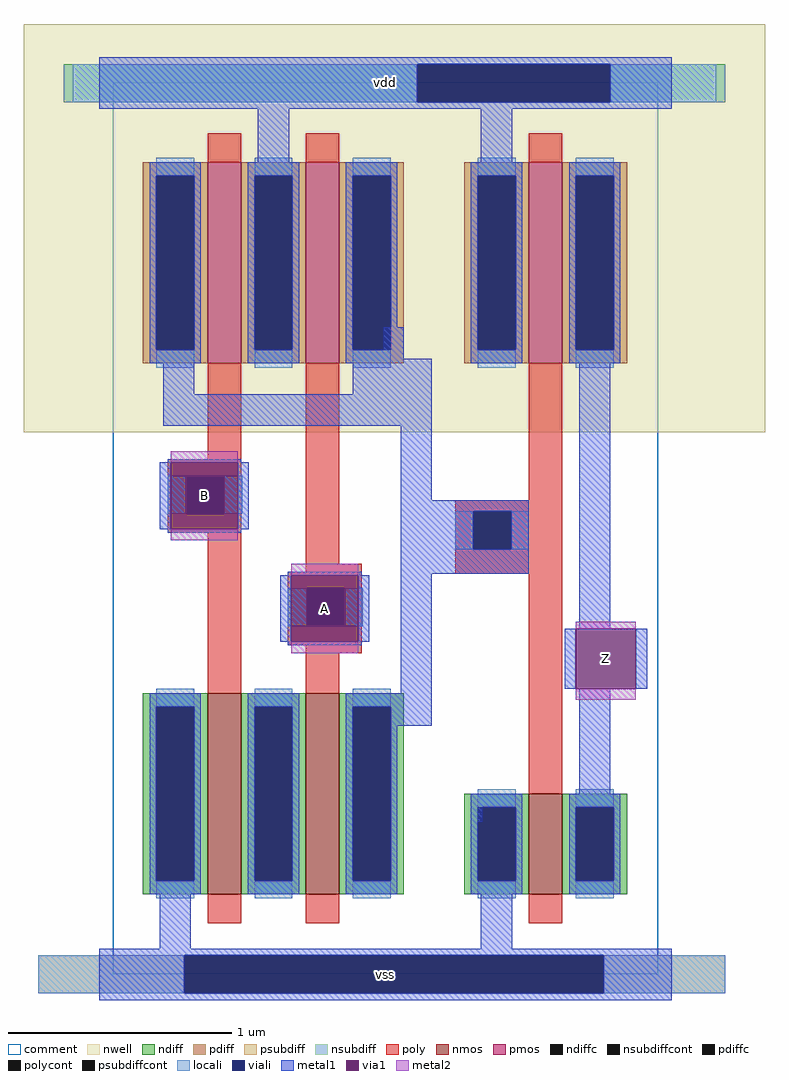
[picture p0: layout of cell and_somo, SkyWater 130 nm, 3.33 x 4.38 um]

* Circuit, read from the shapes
.subckt and_somo A B Z vdd vss
XM1 n1 B vss vss sky130_fd_pr__nfet_01v8 w=0.9 l=0.15
XM2 n2 A n1 vss sky130_fd_pr__nfet_01v8 w=0.9 l=0.15
XM3 Z n2 vss vss sky130_fd_pr__nfet_01v8 w=0.45 l=0.15
XM4 vdd B n2 vdd sky130_fd_pr__pfet_01v8 w=0.9 l=0.15
XM5 n2 A vdd vdd sky130_fd_pr__pfet_01v8 w=0.9 l=0.15
XM6 Z n2 vdd vdd sky130_fd_pr__pfet_01v8 w=0.9 l=0.15
.ends

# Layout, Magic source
magic
tech sky130A
magscale 1 2
<< nwell >>
rect -81 487 584 852
rect -81 486 -10 487
rect 495 486 584 487
<< psubdiff >>
rect -68 -17 63 17
rect 439 -17 548 17
<< nsubdiff >>
rect -45 782 272 816
rect 445 782 548 816
<< psubdiffcont >>
rect 63 -17 439 17
<< nsubdiffcont >>
rect 272 782 445 816
<< poly >>
rect 84 462 114 523
rect 48 447 114 462
rect 48 413 65 447
rect 99 413 115 447
rect 48 396 114 413
rect 84 278 114 396
rect 172 368 202 523
rect 372 425 402 523
rect 306 415 402 425
rect 306 381 322 415
rect 356 381 402 415
rect 172 361 222 368
rect 156 346 222 361
rect 306 359 402 381
rect 156 312 173 346
rect 207 312 222 346
rect 156 295 222 312
rect 172 288 222 295
rect 172 278 202 288
rect 372 183 402 359
<< polycont >>
rect 65 413 99 447
rect 322 381 356 415
rect 173 312 207 346
<< locali >>
rect -37 782 272 816
rect 445 782 540 816
rect 48 413 65 447
rect 99 413 115 447
rect 306 381 322 415
rect 356 381 372 415
rect 156 312 173 346
rect 207 312 223 346
rect -68 -17 63 17
rect 439 -17 548 17
<< viali >>
rect 272 782 445 816
rect 65 413 99 447
rect 322 381 356 415
rect 173 312 207 346
rect 63 -17 439 17
<< metal1 >>
rect -13 816 500 822
rect -13 782 272 816
rect 445 782 500 816
rect -13 776 500 782
rect 129 728 157 776
rect 329 728 357 776
rect 242 552 260 580
rect 242 549 285 552
rect 44 520 72 549
rect 214 520 285 549
rect 44 492 285 520
rect 48 459 114 462
rect 41 399 51 459
rect 111 399 121 459
rect 257 425 285 492
rect 257 415 372 425
rect 48 396 114 399
rect 257 381 322 415
rect 356 381 372 415
rect 156 358 222 361
rect 257 359 372 381
rect 149 298 159 358
rect 219 298 229 358
rect 156 295 222 298
rect 257 252 285 359
rect 417 310 445 549
rect 404 256 414 310
rect 468 256 478 310
rect 248 224 285 252
rect 254 223 285 224
rect 417 162 445 256
rect 320 157 331 162
rect 320 137 330 157
rect 320 134 326 137
rect 41 23 69 72
rect 329 23 357 72
rect -13 17 500 23
rect -13 -17 63 17
rect 439 -17 500 17
rect -13 -23 500 -17
<< via1 >>
rect 51 447 111 459
rect 51 413 65 447
rect 65 413 99 447
rect 99 413 111 447
rect 51 399 111 413
rect 159 346 219 358
rect 159 312 173 346
rect 173 312 207 346
rect 207 312 219 346
rect 159 298 219 312
rect 414 256 468 310
<< metal2 >>
rect 51 459 111 469
rect 51 389 111 399
rect 159 358 219 368
rect 159 288 219 298
rect 414 310 468 316
rect 414 246 468 256
<< comment >>
rect -1 799 488 800
rect -1 1 0 799
rect 487 1 488 799
rect -1 0 488 1
use sky130_fd_pr__nfet_01v8_BDU5MU  sky130_fd_pr__nfet_01v8_BDU5MU_0
transform 1 0 99 0 1 162
box -73 -116 73 116
use sky130_fd_pr__nfet_01v8_BDU5MU  sky130_fd_pr__nfet_01v8_BDU5MU_1
transform 1 0 187 0 1 162
box -73 -116 73 116
use sky130_fd_pr__pfet_01v8_5UWV5B  sky130_fd_pr__pfet_01v8_5UWV5B_0
transform 1 0 99 0 1 638
box -109 -152 109 152
use sky130_fd_pr__pfet_01v8_5UWV5B  sky130_fd_pr__pfet_01v8_5UWV5B_1
transform 1 0 187 0 1 638
box -109 -152 109 152
use sky130_fd_pr__pfet_01v8_5UWV5B  sky130_fd_pr__pfet_01v8_5UWV5B_2
transform 1 0 387 0 1 638
box -109 -152 109 152
use sky130_fd_pr__nfet_01v8_NNQ2PV  sky130_fd_pr__nfet_01v8_NNQ2PV_0
transform 1 0 387 0 1 117
box -73 -71 73 71
<< labels >>
rlabel poly 51 399 111 459 1 B
rlabel poly 159 298 219 358 1 A
rlabel nwell 0 783 487 817 1 vdd
rlabel via1 414 256 468 310 1 Z
rlabel psubdiff 0 -17 487 17 1 vss
<< end >>

# cell sky130_fd_pr__nfet_01v8_BDU5MU: kit device sky130_fd_pr__nfet_01v8, w 0.90 l 0.150 m 1 nf 1 diffcov 100 polycov 100 guard 0 glc 0 grc 0 gtc 0 gbc 0 tbcov 100 rlcov 100 topc 0 botc 0 poverlap 0 doverlap 1 lmin 0.15 wmin 0.42 compatible {sky130_fd_pr__nfet_01v8 sky130_fd_pr__nfet_01v8_lvt sky130_fd_bs_flash__special_sonosfet_star sky130_fd_pr__nfet_g5v0d10v5 sky130_fd_pr__nfet_05v0_nvt} full_metal 0 viasrc 100 viadrn 100 viagate 100 viagb 0 viagr 0 viagl 0 viagt 0

# cell sky130_fd_pr__pfet_01v8_5UWV5B: kit device sky130_fd_pr__pfet_01v8, w 0.90 l 0.15 m 1 nf 1 diffcov 100 polycov 100 guard 0 glc 0 grc 0 gtc 0 gbc 0 tbcov 100 rlcov 100 topc 0 botc 0 poverlap 0 doverlap 1 lmin 0.15 wmin 0.42 compatible {sky130_fd_pr__pfet_01v8 sky130_fd_pr__pfet_01v8_lvt sky130_fd_pr__pfet_01v8_hvt sky130_fd_pr__pfet_g5v0d10v5} full_metal 0 viasrc 100 viadrn 100 viagate 100 viagb 0 viagr 0 viagl 0 viagt 0

# cell sky130_fd_pr__nfet_01v8_NNQ2PV: kit device sky130_fd_pr__nfet_01v8, w 0.450 l 0.150 m 1 nf 1 diffcov 100 polycov 100 guard 0 glc 0 grc 0 gtc 0 gbc 0 tbcov 100 rlcov 100 topc 0 botc 0 poverlap 0 doverlap 1 lmin 0.15 wmin 0.42 compatible {sky130_fd_pr__nfet_01v8 sky130_fd_pr__nfet_01v8_lvt sky130_fd_bs_flash__special_sonosfet_star sky130_fd_pr__nfet_g5v0d10v5 sky130_fd_pr__nfet_05v0_nvt} full_metal 0 viasrc 100 viadrn 100 viagate 100 viagb 0 viagr 0 viagl 0 viagt 0
